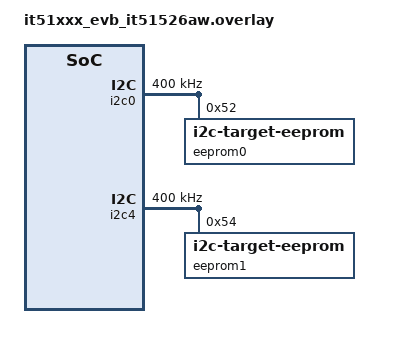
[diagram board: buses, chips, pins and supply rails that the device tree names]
/*
 * Copyright (c) 2025 ITE Corporation. All Rights Reserved.
 *
 * SPDX-License-Identifier: Apache-2.0
 */

/* Target */
&i2c0 {
	status = "okay";
	clock-frequency = <I2C_BITRATE_FAST>;
	pinctrl-0 = <&i2c0_clk_gpf2_default
		     &i2c0_data_gpf3_default>;
	pinctrl-names = "default";

	target-enable;
	target-shared-fifo-mode;

	eeprom0: eeprom@52 {
		compatible = "zephyr,i2c-target-eeprom";
		reg = <0x52>;
		size = <256>;
	};
};

&i2c1 {
	/delete-property/ fifo-enable;   /* FIFO2 */
};

/* HOST */
&i2c4 {
	status = "okay";
	clock-frequency = <I2C_BITRATE_FAST>;
	pinctrl-0 = <&i2c4_clk_gpe0_default
		     &i2c4_data_gpe7_default>;
	pinctrl-names = "default";

	fifo-enable;   /* FIFO2 */

	eeprom1: eeprom@54 {
		compatible = "zephyr,i2c-target-eeprom";
		reg = <0x54>;
		size = <256>;
	};
};
